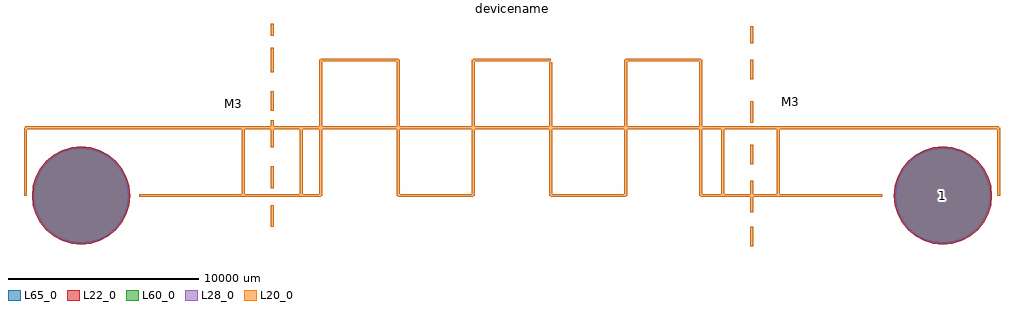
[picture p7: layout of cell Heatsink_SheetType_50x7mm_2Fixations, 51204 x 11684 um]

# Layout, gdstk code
import gdstk
lib = gdstk.Library(unit=1e-6, precision=1e-09)
def P(c, l, *ps):  # polygons
    for p in ps: c.add(gdstk.Polygon(p, *l))
L20_0 = (20, 0)
L22_0 = (22, 0)
L28_0 = (28, 0)
L60_0 = (60, 0)
L65_0 = (65, 0)

heatsink_sheettype_50x7m = lib.new_cell('Heatsink_SheetType_50x7mm_2Fixations')
P(heatsink_sheettype_50x7m, L22_0, [(-20030.37,0),(-20079.86,502.48),(-20226.428,985.651),(-20464.442,1430.943),(-20784.755,1821.245),(-21175.057,2141.558),(-21620.349,2379.572),(-22103.52,2526.14),(-22606,2575.63),(-23108.48,2526.14),(-23591.651,2379.572),(-24036.943,2141.558),(-24427.245,1821.245),(-24747.558,1430.943),(-24985.572,985.651),(-25132.14,502.48),(-25181.63,0),(-25132.14,-502.48),(-24985.572,-985.651),(-24747.558,-1430.943),(-24427.245,-1821.245),(-24036.943,-2141.558),(-23591.651,-2379.572),(-23108.48,-2526.14),(-22606,-2575.63),(-22103.52,-2526.14),(-21620.349,-2379.572),(-21175.057,-2141.558),(-20784.755,-1821.245),(-20464.442,-1430.943),(-20226.428,-985.651),(-20079.86,-502.48)],
  [(25181.63,0),(25132.14,502.48),(24985.572,985.651),(24747.558,1430.943),(24427.245,1821.245),(24036.943,2141.558),(23591.651,2379.572),(23108.48,2526.14),(22606,2575.63),(22103.52,2526.14),(21620.349,2379.572),(21175.057,2141.558),(20784.755,1821.245),(20464.442,1430.943),(20226.428,985.651),(20079.86,502.48),(20030.37,0),(20079.86,-502.48),(20226.428,-985.651),(20464.442,-1430.943),(20784.755,-1821.245),(21175.057,-2141.558),(21620.349,-2379.572),(22103.52,-2526.14),(22606,-2575.63),(23108.48,-2526.14),(23591.651,-2379.572),(24036.943,-2141.558),(24427.245,-1821.245),(24747.558,-1430.943),(24985.572,-985.651),(25132.14,-502.48)])
P(heatsink_sheettype_50x7m, L28_0, [(-20105.37,0),(-20153.419,487.849),(-20295.719,956.95),(-20526.802,1389.276),(-20837.788,1768.212),(-21216.724,2079.198),(-21649.05,2310.281),(-22118.151,2452.581),(-22606,2500.63),(-23093.849,2452.581),(-23562.95,2310.281),(-23995.276,2079.198),(-24374.212,1768.212),(-24685.198,1389.276),(-24916.281,956.95),(-25058.581,487.849),(-25106.63,0),(-25058.581,-487.849),(-24916.281,-956.95),(-24685.198,-1389.276),(-24374.212,-1768.212),(-23995.276,-2079.198),(-23562.95,-2310.281),(-23093.849,-2452.581),(-22606,-2500.63),(-22118.151,-2452.581),(-21649.05,-2310.281),(-21216.724,-2079.198),(-20837.788,-1768.212),(-20526.802,-1389.276),(-20295.719,-956.95),(-20153.419,-487.849)],
  [(25106.63,0),(25058.581,487.849),(24916.281,956.95),(24685.198,1389.276),(24374.212,1768.212),(23995.276,2079.198),(23562.95,2310.281),(23093.849,2452.581),(22606,2500.63),(22118.151,2452.581),(21649.05,2310.281),(21216.724,2079.198),(20837.788,1768.212),(20526.802,1389.276),(20295.719,956.95),(20153.419,487.849),(20105.37,0),(20153.419,-487.849),(20295.719,-956.95),(20526.802,-1389.276),(20837.788,-1768.212),(21216.724,-2079.198),(21649.05,-2310.281),(22118.151,-2452.581),(22606,-2500.63),(23093.849,-2452.581),(23562.95,-2310.281),(23995.276,-2079.198),(24374.212,-1768.212),(24685.198,-1389.276),(24916.281,-956.95),(25058.581,-487.849)])
P(heatsink_sheettype_50x7m, L60_0, [(-20105.37,0),(-20153.419,487.849),(-20295.719,956.95),(-20526.802,1389.276),(-20837.788,1768.212),(-21216.724,2079.198),(-21649.05,2310.281),(-22118.151,2452.581),(-22606,2500.63),(-23093.849,2452.581),(-23562.95,2310.281),(-23995.276,2079.198),(-24374.212,1768.212),(-24685.198,1389.276),(-24916.281,956.95),(-25058.581,487.849),(-25106.63,0),(-25058.581,-487.849),(-24916.281,-956.95),(-24685.198,-1389.276),(-24374.212,-1768.212),(-23995.276,-2079.198),(-23562.95,-2310.281),(-23093.849,-2452.581),(-22606,-2500.63),(-22118.151,-2452.581),(-21649.05,-2310.281),(-21216.724,-2079.198),(-20837.788,-1768.212),(-20526.802,-1389.276),(-20295.719,-956.95),(-20153.419,-487.849)],
  [(25106.63,0),(25058.581,487.849),(24916.281,956.95),(24685.198,1389.276),(24374.212,1768.212),(23995.276,2079.198),(23562.95,2310.281),(23093.849,2452.581),(22606,2500.63),(22118.151,2452.581),(21649.05,2310.281),(21216.724,2079.198),(20837.788,1768.212),(20526.802,1389.276),(20295.719,956.95),(20153.419,487.849),(20105.37,0),(20153.419,-487.849),(20295.719,-956.95),(20526.802,-1389.276),(20837.788,-1768.212),(21216.724,-2079.198),(21649.05,-2310.281),(22118.151,-2452.581),(22606,-2500.63),(23093.849,-2452.581),(23562.95,-2310.281),(23995.276,-2079.198),(24374.212,-1768.212),(24685.198,-1389.276),(24916.281,-956.95),(25058.581,-487.849)])
P(heatsink_sheettype_50x7m, L65_0, [(-20030.37,0),(-20079.86,502.48),(-20226.428,985.651),(-20464.442,1430.943),(-20784.755,1821.245),(-21175.057,2141.558),(-21620.349,2379.572),(-22103.52,2526.14),(-22606,2575.63),(-23108.48,2526.14),(-23591.651,2379.572),(-24036.943,2141.558),(-24427.245,1821.245),(-24747.558,1430.943),(-24985.572,985.651),(-25132.14,502.48),(-25181.63,0),(-25132.14,-502.48),(-24985.572,-985.651),(-24747.558,-1430.943),(-24427.245,-1821.245),(-24036.943,-2141.558),(-23591.651,-2379.572),(-23108.48,-2526.14),(-22606,-2575.63),(-22103.52,-2526.14),(-21620.349,-2379.572),(-21175.057,-2141.558),(-20784.755,-1821.245),(-20464.442,-1430.943),(-20226.428,-985.651),(-20079.86,-502.48)],
  [(25181.63,0),(25132.14,502.48),(24985.572,985.651),(24747.558,1430.943),(24427.245,1821.245),(24036.943,2141.558),(23591.651,2379.572),(23108.48,2526.14),(22606,2575.63),(22103.52,2526.14),(21620.349,2379.572),(21175.057,2141.558),(20784.755,1821.245),(20464.442,1430.943),(20226.428,985.651),(20079.86,502.48),(20030.37,0),(20079.86,-502.48),(20226.428,-985.651),(20464.442,-1430.943),(20784.755,-1821.245),(21175.057,-2141.558),(21620.349,-2379.572),(22103.52,-2526.14),(22606,-2575.63),(23108.48,-2526.14),(23591.651,-2379.572),(24036.943,-2141.558),(24427.245,-1821.245),(24747.558,-1430.943),(24985.572,-985.651),(25132.14,-502.48)])
heatsink_sheettype_50x7m.add(gdstk.FlexPath([(-25527,3556),(-25527,0)], 149.998, ends="flush", simple_path=True, layer=20, datatype=0))  # L20_0
heatsink_sheettype_50x7m.add(gdstk.FlexPath([(25527,3556),(-25527,3556)], 149.998, ends="flush", simple_path=True, layer=20, datatype=0))  # L20_0
heatsink_sheettype_50x7m.add(gdstk.FlexPath([(25527,0),(25527,3556)], 149.998, ends="flush", simple_path=True, layer=20, datatype=0))  # L20_0
heatsink_sheettype_50x7m.add(gdstk.FlexPath([(13970,3556),(13970,0)], 149.998, ends="flush", simple_path=True, layer=20, datatype=0))  # L20_0
heatsink_sheettype_50x7m.add(gdstk.FlexPath([(12573,8890),(12573,8001)], 149.998, ends="flush", simple_path=True, layer=20, datatype=0))  # L20_0
heatsink_sheettype_50x7m.add(gdstk.FlexPath([(12573,7112),(12573,6096)], 149.998, ends="flush", simple_path=True, layer=20, datatype=0))  # L20_0
heatsink_sheettype_50x7m.add(gdstk.FlexPath([(12573,4953),(12573,3810)], 149.998, ends="flush", simple_path=True, layer=20, datatype=0))  # L20_0
heatsink_sheettype_50x7m.add(gdstk.FlexPath([(12573,2667),(12573,1651)], 149.998, ends="flush", simple_path=True, layer=20, datatype=0))  # L20_0
heatsink_sheettype_50x7m.add(gdstk.FlexPath([(12573,762),(12573,-889)], 149.998, ends="flush", simple_path=True, layer=20, datatype=0))  # L20_0
heatsink_sheettype_50x7m.add(gdstk.FlexPath([(12573,-1651),(12573,-2667)], 149.998, ends="flush", simple_path=True, layer=20, datatype=0))  # L20_0
heatsink_sheettype_50x7m.add(gdstk.FlexPath([(-12573,9017),(-12573,8382)], 149.998, ends="flush", simple_path=True, layer=20, datatype=0))  # L20_0
heatsink_sheettype_50x7m.add(gdstk.FlexPath([(-12573,7747),(-12573,6477)], 149.998, ends="flush", simple_path=True, layer=20, datatype=0))  # L20_0
heatsink_sheettype_50x7m.add(gdstk.FlexPath([(-12573,5461),(-12573,4445)], 149.998, ends="flush", simple_path=True, layer=20, datatype=0))  # L20_0
heatsink_sheettype_50x7m.add(gdstk.FlexPath([(-12573,3937),(-12573,2540)], 149.998, ends="flush", simple_path=True, layer=20, datatype=0))  # L20_0
heatsink_sheettype_50x7m.add(gdstk.FlexPath([(-12573,1524),(-12573,381)], 149.998, ends="flush", simple_path=True, layer=20, datatype=0))  # L20_0
heatsink_sheettype_50x7m.add(gdstk.FlexPath([(-12573,-508),(-12573,-1651)], 149.998, ends="flush", simple_path=True, layer=20, datatype=0))  # L20_0
heatsink_sheettype_50x7m.add(gdstk.FlexPath([(11049,3556),(11049,0)], 149.998, ends="flush", simple_path=True, layer=20, datatype=0))  # L20_0
heatsink_sheettype_50x7m.add(gdstk.FlexPath([(2032,6985),(2032,0)], 149.998, ends="flush", simple_path=True, layer=20, datatype=0))  # L20_0
heatsink_sheettype_50x7m.add(gdstk.FlexPath([(5969,7112),(5969,0)], 149.998, ends="flush", simple_path=True, layer=20, datatype=0))  # L20_0
heatsink_sheettype_50x7m.add(gdstk.FlexPath([(9906,7112),(9906,0)], 149.998, ends="flush", simple_path=True, layer=20, datatype=0))  # L20_0
heatsink_sheettype_50x7m.add(gdstk.FlexPath([(9906,7112),(5969,7112)], 149.998, ends="flush", simple_path=True, layer=20, datatype=0))  # L20_0
heatsink_sheettype_50x7m.add(gdstk.FlexPath([(-2032,7112),(-2032,0)], 149.998, ends="flush", simple_path=True, layer=20, datatype=0))  # L20_0
heatsink_sheettype_50x7m.add(gdstk.FlexPath([(-5969,7112),(-5969,0)], 149.998, ends="flush", simple_path=True, layer=20, datatype=0))  # L20_0
heatsink_sheettype_50x7m.add(gdstk.FlexPath([(-10033,7112),(-10033,0)], 149.998, ends="flush", simple_path=True, layer=20, datatype=0))  # L20_0
heatsink_sheettype_50x7m.add(gdstk.FlexPath([(-14097,3556),(-14097,0)], 149.998, ends="flush", simple_path=True, layer=20, datatype=0))  # L20_0
heatsink_sheettype_50x7m.add(gdstk.FlexPath([(-11049,3556),(-11049,0)], 149.998, ends="flush", simple_path=True, layer=20, datatype=0))  # L20_0
heatsink_sheettype_50x7m.add(gdstk.FlexPath([(2032,7112),(-2032,7112)], 149.998, ends="flush", simple_path=True, layer=20, datatype=0))  # L20_0
heatsink_sheettype_50x7m.add(gdstk.FlexPath([(-5969,7112),(-10033,7112)], 149.998, ends="flush", simple_path=True, layer=20, datatype=0))  # L20_0
heatsink_sheettype_50x7m.add(gdstk.FlexPath([(13970,0),(19431,0)], 149.998, ends="flush", simple_path=True, layer=20, datatype=0))  # L20_0
heatsink_sheettype_50x7m.add(gdstk.FlexPath([(13970,0),(9906,0)], 149.998, ends="flush", simple_path=True, layer=20, datatype=0))  # L20_0
heatsink_sheettype_50x7m.add(gdstk.FlexPath([(5969,0),(2032,0)], 149.998, ends="flush", simple_path=True, layer=20, datatype=0))  # L20_0
heatsink_sheettype_50x7m.add(gdstk.FlexPath([(-2032,0),(-5969,0)], 149.998, ends="flush", simple_path=True, layer=20, datatype=0))  # L20_0
heatsink_sheettype_50x7m.add(gdstk.FlexPath([(-10033,0),(-19558,0)], 149.998, ends="flush", simple_path=True, layer=20, datatype=0))  # L20_0
heatsink_sheettype_50x7m.add(gdstk.Label('1', (22606,0), layer=28, texttype=0))
heatsink_sheettype_50x7m.add(gdstk.Label('M3', (-14605,4826), layer=9, texttype=0))
heatsink_sheettype_50x7m.add(gdstk.Label('M3', (14605,4953), layer=9, texttype=0))
heatsink_sheettype_50x7m.add(gdstk.Label('type', (1270,-5080), layer=9, texttype=0))
heatsink_sheettype_50x7m.add(gdstk.Label('devicename', (0,10160), layer=9, texttype=0))

lib.write_gds('Heatsink_SheetType_50x7mm_2Fixations.gds')
